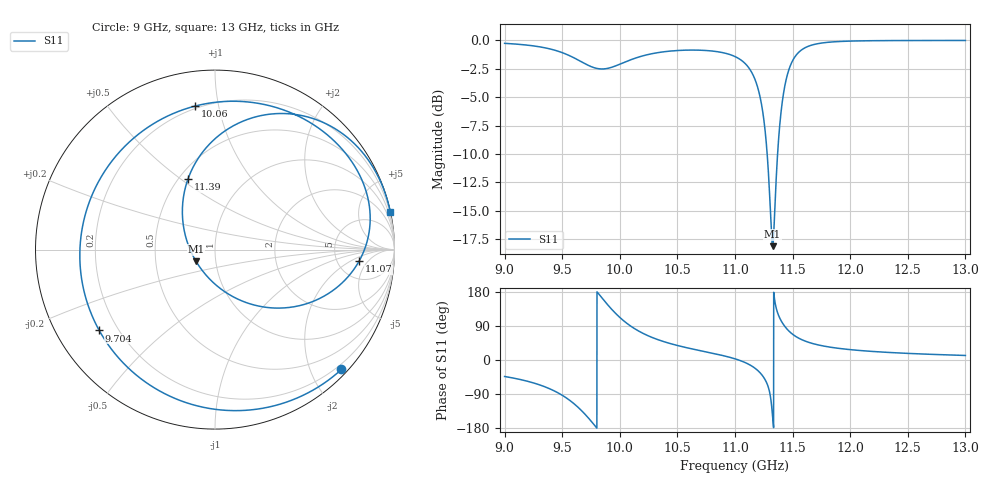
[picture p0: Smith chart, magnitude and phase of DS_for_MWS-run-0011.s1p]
! TOUCHSTONE file generated by CST DESIGN STUDIO
! Date and time: Tue Feb  4 14:07:57 2025
! Project name: C:\Work\MatlabApps\UnitCellOptimizationMatlab\CST\unitcell.cst
! Tree item: Tasks\Sweep1\SPara1\S-Parameters
! Header version: 2024
! Port assignment regex: !\s*Touchstone port\s*([0-9]+)\s*=\s*(CST MWS port|CST DES external port|CST DES block port)\s*(.+)\s* \(\"(.*)\"\)(\s*mode\s*([0-9]+))?.*
! Touchstone port assignment:
! Touchstone port 1 = CST DES external port 1 ("")
# GHz S MA R 50
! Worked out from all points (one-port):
!   4001 points, 9 GHz to 13 GHz, reference 50 ohm
!   lowest |S11| = -18.1 dB at 11.33 GHz (marker M1), VSWR 1.28, Z = 40.2 - j5.37 ohm
!   |S11| at or under -10 dB: 11.28 GHz to 11.37 GHz (90.44 MHz wide, 0.799 % of centre)
!   S11 on the Smith chart (normalised r, x): 9 GHz: 0.11, -2.50; 9.704 GHz: 0.13, -0.31; 10.06 GHz: 0.19, +0.86; 11.07 GHz: 8.12, -3.01; 11.39 GHz: 0.56, +0.53; 13 GHz: 0.02, +9.53
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9  0.9706 -43.5
9.278  0.9416 -63.1
9.5  0.8834 -93.1
9.607  0.8357 -116.5
9.704  0.7867 -145.1
9.773  0.7595 -169.3
9.838  0.7487 166.4
9.922  0.7594 136.3
10  0.7856 112.4
10.057  0.8075 97.8
10.259  0.8697 62.2
10.5  0.9025 38.3
10.762  0.9017 20.6
11  0.849 3.1
11.072  0.8049 -4.6
11.16  0.6986 -18.7
11.231  0.5203 -38.4
11.281  0.3075 -64.7
11.326  0.1242 -148.0
11.34  0.1549 167.9
11.388  0.4213 110.9
11.44  0.6582 85.7
11.5  0.814 68.0
11.581  0.9106 53.4
11.68  0.9578 42.9
12  0.993 27.4
12.5  0.9989 17.4
13  0.9995 12.0
